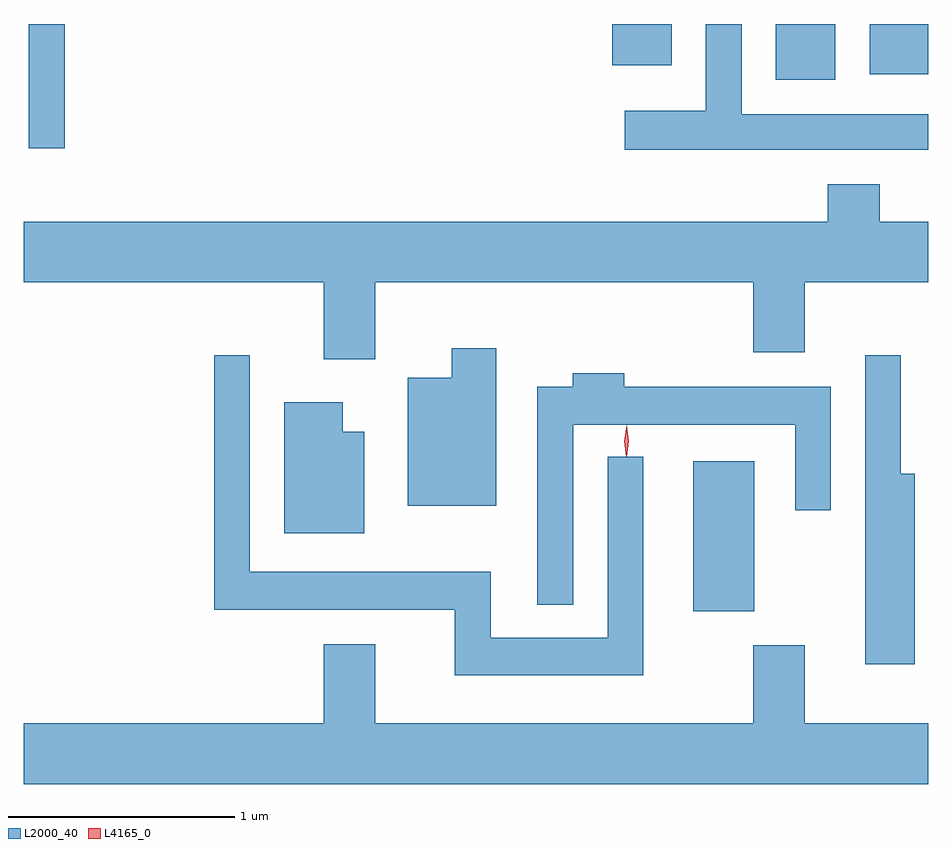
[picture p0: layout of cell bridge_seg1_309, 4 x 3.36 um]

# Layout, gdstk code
import gdstk
lib = gdstk.Library(unit=1e-6, precision=1e-09)
def R(c, l, rs):  # rectangles x0, y0, x1, y1
    for r in rs: c.add(gdstk.rectangle(r[:2], r[2:], *l))
def P(c, l, *ps):  # polygons
    for p in ps: c.add(gdstk.Polygon(p, *l))
L2000_40 = (2000, 40)
L4165_0 = (4165, 0)

bridge_seg1_309 = lib.new_cell('bridge_seg1_309')
R(bridge_seg1_309, L2000_40, [(878.296,884.801,878.564,885.464), (875.356,886.848,875.514,887.398), (878.661,887.151,878.924,887.398), (879.076,887.176,879.334,887.398), (877.936,887.216,878.199,887.398)])
P(bridge_seg1_309, L2000_40, [(879.334,886.999),(878.509,886.999),(878.509,887.398),(878.351,887.398),(878.351,887.014),(877.991,887.014),(877.991,886.841),(879.334,886.841)],
  [(876.889,886.256),(878.561,886.256),(878.561,885.946),(878.789,885.946),(878.789,886.256),(879.334,886.256),(879.334,886.524),(879.119,886.524),(879.119,886.689),(878.891,886.689),(878.891,886.524),(875.334,886.524),(875.334,886.256),(876.661,886.256),(876.661,885.916),(876.889,885.916)],
  [(877.424,885.964),(877.226,885.964),(877.226,885.834),(877.031,885.834),(877.031,885.266),(877.424,885.266)],
  [(878.074,885.483),(877.916,885.483),(877.916,884.684),(877.399,884.684),(877.399,884.974),(876.334,884.974),(876.334,885.933),(876.176,885.933),(876.176,884.806),(877.241,884.806),(877.241,884.516),(878.074,884.516)],
  [(879.274,885.409),(879.214,885.409),(879.214,885.933),(879.056,885.933),(879.056,884.566),(879.274,884.566)],
  [(877.764,885.626),(878.746,885.626),(878.746,885.248),(878.904,885.248),(878.904,885.794),(877.989,885.794),(877.989,885.854),(877.761,885.854),(877.761,885.794),(877.606,885.794),(877.606,884.828),(877.764,884.828)],
  [(876.839,885.594),(876.744,885.594),(876.744,885.724),(876.486,885.724),(876.486,885.146),(876.839,885.146)],
  [(879.334,884.304),(878.789,884.304),(878.789,884.649),(878.561,884.649),(878.561,884.304),(876.889,884.304),(876.889,884.654),(876.661,884.654),(876.661,884.304),(875.334,884.304),(875.334,884.036),(879.334,884.036)])
P(bridge_seg1_309, L4165_0, [(877.999,885.484),(877.99,885.553),(878,885.622),(878.001,885.623),(878.001,885.622),(878.01,885.553),(878,885.484),(878,885.484)])

lib.write_gds('bridge_seg1_309.gds')
